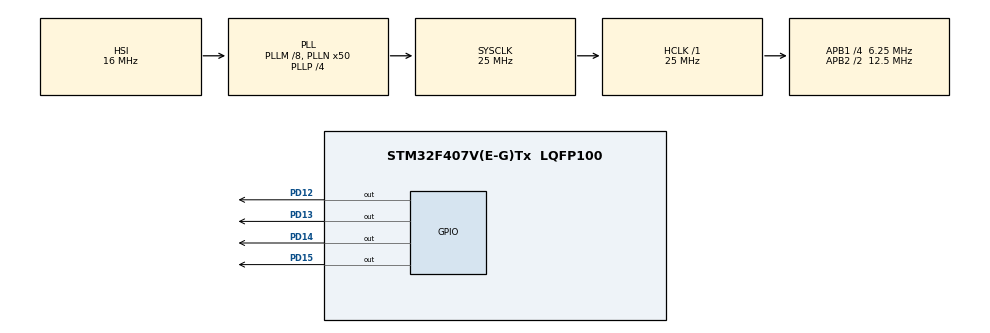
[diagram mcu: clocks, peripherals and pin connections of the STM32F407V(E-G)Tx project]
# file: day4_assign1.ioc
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FREERTOS.INCLUDE_vTaskDelayUntil=1
FREERTOS.Tasks01=defaultTask,-3,128,StartDefaultTask,Default,NULL,Dynamic,NULL,NULL
FREERTOS.configUSE_NEWLIB_REENTRANT=1
Mcu.Family=STM32F4
Mcu.Name=STM32F407V(E-G)Tx
Mcu.Package=LQFP100
NVIC.PriorityGroup=NVIC_PRIORITYGROUP_4
NVIC.TIM1_UP_TIM10_IRQn=true\:0\:0\:false\:false\:true\:false\:false\:true\:true
NVIC.TimeBase=TIM1_UP_TIM10_IRQn
NVIC.TimeBaseIP=TIM1
PD12.Signal=GPIO_Output
PD13.Signal=GPIO_Output
PD14.Signal=GPIO_Output
PD15.Signal=GPIO_Output
ProjectManager.HeapSize=0x200
ProjectManager.StackSize=0x400
ProjectManager.TargetToolchain=STM32CubeIDE
RCC.48MHZClocksFreq_Value=14285714.285714285
RCC.AHBFreq_Value=25000000
RCC.APB1CLKDivider=RCC_HCLK_DIV4
RCC.APB1Freq_Value=6250000
RCC.APB1TimFreq_Value=12500000
RCC.APB2CLKDivider=RCC_HCLK_DIV2
RCC.APB2Freq_Value=12500000
RCC.APB2TimFreq_Value=25000000
RCC.CortexFreq_Value=25000000
RCC.HCLKFreq_Value=25000000
RCC.HSE_VALUE=8000000
RCC.HSI_VALUE=16000000
RCC.LSE_VALUE=32768
RCC.PLLM=8
RCC.PLLN=50
RCC.PLLP=RCC_PLLP_DIV4
RCC.PLLQ=7
RCC.SYSCLKFreq_VALUE=25000000
RCC.SYSCLKSource=RCC_SYSCLKSOURCE_PLLCLK
RCC.VCOOutputFreq_Value=100000000
VP_FREERTOS_VS_CMSIS_V1.Mode=CMSIS_V1
VP_SYS_VS_tim1.Mode=TIM1
board=STM32F407G-DISC1

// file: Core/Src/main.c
/* USER CODE BEGIN Header */
/**
  ******************************************************************************
  * @file           : main.c
  * @brief          : Main program body
  ******************************************************************************
  * @attention
  *
  * Copyright (c) 2024 STMicroelectronics.
  * All rights reserved.
  *
  * This software is licensed under terms that can be found in the LICENSE file
  * in the root directory of this software component.
  * If no LICENSE file comes with this software, it is provided AS-IS.
  *
  ******************************************************************************
  */
/* USER CODE END Header */
#include "main.h"
#include "cmsis_os.h"

osThreadId defaultTaskHandle;

void SystemClock_Config(void);
static void MX_GPIO_Init(void);
void StartDefaultTask(void const * argument);

/* USER CODE BEGIN 0 */
void vLedTask1(void *pvParam)
{
	while(1)
	{
		HAL_GPIO_TogglePin(GPIOD, GPIO_PIN_12);
		vTaskDelay(1000/portTICK_RATE_MS);
	}
	vTaskDelete(NULL);
}

void vLedTask2(void *pvParam)
{
	while(1)
	{
		HAL_GPIO_TogglePin(GPIOD, GPIO_PIN_13);
		vTaskDelay(1500/portTICK_RATE_MS);
	}
	vTaskDelete(NULL);
}

void vLedTask3(void *pvParam)
{
	while(1)
	{
		HAL_GPIO_TogglePin(GPIOD, GPIO_PIN_14);
		vTaskDelay(2000/portTICK_RATE_MS);
	}
	vTaskDelete(NULL);
}

void vLedTask4(void *pvParam)
{
	while(1)
	{
		HAL_GPIO_TogglePin(GPIOD, GPIO_PIN_15);
		vTaskDelay(2500/portTICK_RATE_MS);
	}
	vTaskDelete(NULL);
}

/* USER CODE END 0 */

int main(void)
{

  /* USER CODE BEGIN 1 */
	BaseType_t xRet;
  /* USER CODE END 1 */

  /* MCU Configuration--------------------------------------------------------*/

  /* Reset of all peripherals, Initializes the Flash interface and the Systick. */
  HAL_Init();

  /* Configure the system clock */
  SystemClock_Config();

  /* Initialize all configured peripherals */
  MX_GPIO_Init();

  /* Create the thread(s) */
  /* definition and creation of defaultTask */
  osThreadDef(defaultTask, StartDefaultTask, osPriorityIdle, 0, 128);
  defaultTaskHandle = osThreadCreate(osThread(defaultTask), NULL);

  /* USER CODE BEGIN RTOS_THREADS */
  /* add threads, ... */
  xRet = xTaskCreate(vLedTask1, "task 1", configMINIMAL_STACK_SIZE, NULL, 1, NULL);
  if(xRet != pdTRUE)
	  Error_Handler();

  xRet = xTaskCreate(vLedTask2, "task 2", configMINIMAL_STACK_SIZE, NULL, 1, NULL);
    if(xRet != pdTRUE)
  	  Error_Handler();

  xRet = xTaskCreate(vLedTask3, "task 3", configMINIMAL_STACK_SIZE, NULL, 1, NULL);
    if(xRet != pdTRUE)
      Error_Handler();

  xRet = xTaskCreate(vLedTask4, "task 4", configMINIMAL_STACK_SIZE, NULL, 1, NULL);
    if(xRet != pdTRUE)
   	  Error_Handler();
  /* USER CODE END RTOS_THREADS */

  /* Start scheduler */
  osKernelStart();

  /* We should never get here as control is now taken by the scheduler */

  /* Infinite loop */
  while (1)
  {

  }
}

void SystemClock_Config(void)
{
  RCC_OscInitTypeDef RCC_OscInitStruct = {0};
  RCC_ClkInitTypeDef RCC_ClkInitStruct = {0};

  /** Configure the main internal regulator output voltage
  */
  __HAL_RCC_PWR_CLK_ENABLE();
  __HAL_PWR_VOLTAGESCALING_CONFIG(PWR_REGULATOR_VOLTAGE_SCALE1);

  /** Initializes the RCC Oscillators according to the specified parameters
  * in the RCC_OscInitTypeDef structure.
  */
  RCC_OscInitStruct.OscillatorType = RCC_OSCILLATORTYPE_HSI;
  RCC_OscInitStruct.HSIState = RCC_HSI_ON;
  RCC_OscInitStruct.HSICalibrationValue = RCC_HSICALIBRATION_DEFAULT;
  RCC_OscInitStruct.PLL.PLLState = RCC_PLL_ON;
  RCC_OscInitStruct.PLL.PLLSource = RCC_PLLSOURCE_HSI;
  RCC_OscInitStruct.PLL.PLLM = 8;
  RCC_OscInitStruct.PLL.PLLN = 50;
  RCC_OscInitStruct.PLL.PLLP = RCC_PLLP_DIV4;
  RCC_OscInitStruct.PLL.PLLQ = 7;
  if (HAL_RCC_OscConfig(&RCC_OscInitStruct) != HAL_OK)
  {
    Error_Handler();
  }

  /** Initializes the CPU, AHB and APB buses clocks
  */
  RCC_ClkInitStruct.ClockType = RCC_CLOCKTYPE_HCLK|RCC_CLOCKTYPE_SYSCLK
                              |RCC_CLOCKTYPE_PCLK1|RCC_CLOCKTYPE_PCLK2;
  RCC_ClkInitStruct.SYSCLKSource = RCC_SYSCLKSOURCE_PLLCLK;
  RCC_ClkInitStruct.AHBCLKDivider = RCC_SYSCLK_DIV1;
  RCC_ClkInitStruct.APB1CLKDivider = RCC_HCLK_DIV4;
  RCC_ClkInitStruct.APB2CLKDivider = RCC_HCLK_DIV2;

  if (HAL_RCC_ClockConfig(&RCC_ClkInitStruct, FLASH_LATENCY_0) != HAL_OK)
  {
    Error_Handler();
  }
}

static void MX_GPIO_Init(void)
{
  GPIO_InitTypeDef GPIO_InitStruct = {0};

  /* GPIO Ports Clock Enable */
  __HAL_RCC_GPIOD_CLK_ENABLE();

  /*Configure GPIO pin Output Level */
  HAL_GPIO_WritePin(GPIOD, GPIO_PIN_12|GPIO_PIN_13|GPIO_PIN_14|GPIO_PIN_15, GPIO_PIN_RESET);

  /*Configure GPIO pins : PD12 PD13 PD14 PD15 */
  GPIO_InitStruct.Pin = GPIO_PIN_12|GPIO_PIN_13|GPIO_PIN_14|GPIO_PIN_15;
  GPIO_InitStruct.Mode = GPIO_MODE_OUTPUT_PP;
  GPIO_InitStruct.Pull = GPIO_NOPULL;
  GPIO_InitStruct.Speed = GPIO_SPEED_FREQ_LOW;
  HAL_GPIO_Init(GPIOD, &GPIO_InitStruct);

}

void StartDefaultTask(void const * argument)
{
  for(;;)
  {
    osDelay(1);
  }
}

void HAL_TIM_PeriodElapsedCallback(TIM_HandleTypeDef *htim)
{
  if (htim->Instance == TIM1) {
    HAL_IncTick();
  }
}

void Error_Handler(void)
{
  __disable_irq();
  while (1)
  {
  }
}
